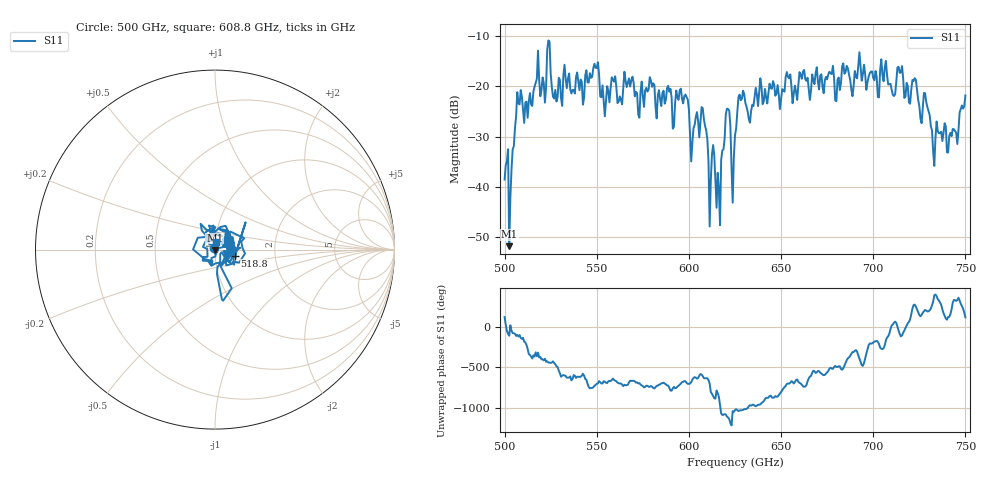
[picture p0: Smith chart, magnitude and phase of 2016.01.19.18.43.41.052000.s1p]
!Created with skrf (http://scikit-rf.org).
# GHz S RI R 50.0
!freq ReS11 ImS11
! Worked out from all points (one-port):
!   401 points, 500 GHz to 750 GHz, reference 50 ohm
!   lowest |S11| = -51.9 dB at 502.5 GHz (marker M1), VSWR 1.01, Z = 49.9 - j0.238 ohm
!   |S11| at or under -10 dB: start of sweep to end of sweep
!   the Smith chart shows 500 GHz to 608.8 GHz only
!   S11 on the Smith chart (normalised r, x): 500 GHz: 0.99, +0.02; 518.8 GHz: 1.25, -0.09; 608.8 GHz: 1.01, +0.08
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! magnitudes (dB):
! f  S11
! 500 GHz  -38.6
! 502.5 GHz  -51.9
! 507.5 GHz  -23.4
! 518.8 GHz  -18.6
! 524.4 GHz  -11.0
! 526.9 GHz  -22.4
! 531.2 GHz  -23.9
! 549.4 GHz  -16.3
! 553.1 GHz  -19.8
! 562.5 GHz  -22.0
! 593.8 GHz  -22.2
! 598.8 GHz  -22.1
! 601.9 GHz  -31.1
! 608.8 GHz  -27.9
! 610.6 GHz  -35.0
! 615.6 GHz  -37.2
! 620.6 GHz  -24.4
! 625 GHz  -29.8
! 628.1 GHz  -22.7
! 656.2 GHz  -23.3
! 687.5 GHz  -18.7
! 710.6 GHz  -21.6
! 714.4 GHz  -17.3
! 718.8 GHz  -19.9
! 728.8 GHz  -23.1
! 732.5 GHz  -32.9
! 745 GHz  -29.2
! 750 GHz  -21.8
